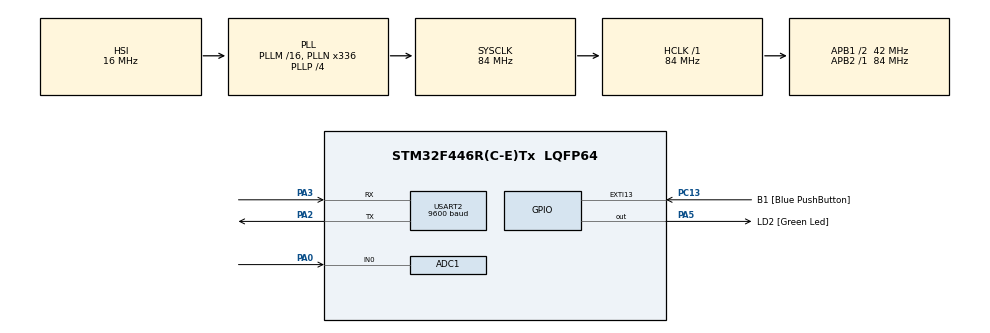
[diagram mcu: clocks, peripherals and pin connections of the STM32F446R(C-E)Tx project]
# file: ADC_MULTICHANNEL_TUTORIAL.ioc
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ADC1.Channel-0\#ChannelRegularConversion=ADC_CHANNEL_0
ADC1.Channel-1\#ChannelRegularConversion=ADC_CHANNEL_TEMPSENSOR
ADC1.ContinuousConvMode=ENABLE
ADC1.DMAContinuousRequests=ENABLE
ADC1.NbrOfConversion=2
ADC1.NbrOfConversionFlag=1
ADC1.Rank-0\#ChannelRegularConversion=1
ADC1.Rank-1\#ChannelRegularConversion=2
ADC1.SamplingTime-0\#ChannelRegularConversion=ADC_SAMPLETIME_3CYCLES
ADC1.SamplingTime-1\#ChannelRegularConversion=ADC_SAMPLETIME_3CYCLES
ADC1.master=1
Dma.ADC1.0.Direction=DMA_PERIPH_TO_MEMORY
Dma.ADC1.0.FIFOMode=DMA_FIFOMODE_DISABLE
Dma.ADC1.0.Instance=DMA2_Stream0
Dma.ADC1.0.MemDataAlignment=DMA_MDATAALIGN_HALFWORD
Dma.ADC1.0.MemInc=DMA_MINC_ENABLE
Dma.ADC1.0.Mode=DMA_NORMAL
Dma.ADC1.0.PeriphDataAlignment=DMA_PDATAALIGN_HALFWORD
Dma.ADC1.0.PeriphInc=DMA_PINC_DISABLE
Dma.ADC1.0.Priority=DMA_PRIORITY_LOW
Dma.Request0=ADC1
Mcu.Family=STM32F4
Mcu.Name=STM32F446R(C-E)Tx
Mcu.Package=LQFP64
NVIC.ADC_IRQn=true\:0\:0\:false\:false\:true\:true\:true
NVIC.DMA2_Stream0_IRQn=true\:0\:0\:false\:false\:true\:false\:true
NVIC.PriorityGroup=NVIC_PRIORITYGROUP_0
PA0-WKUP.Signal=ADCx_IN0
PA13.GPIO_Label=TMS
PA13.Mode=Serial_Wire
PA13.Signal=SYS_JTMS-SWDIO
PA14.GPIO_Label=TCK
PA14.Mode=Serial_Wire
PA14.Signal=SYS_JTCK-SWCLK
PA2.Mode=Asynchronous
PA2.Signal=USART2_TX
PA3.Mode=Asynchronous
PA3.Signal=USART2_RX
PA5.GPIO_Label=LD2 [Green Led]
PA5.Signal=GPIO_Output
PB3.GPIO_Label=SWO
PB3.Signal=SYS_JTDO-SWO
PC13.GPIO_Label=B1 [Blue PushButton]
PC13.GPIO_ModeDefaultEXTI=GPIO_MODE_IT_FALLING
PC13.Signal=GPXTI13
PC14-OSC32_IN.Mode=LSE-External-Oscillator
PC14-OSC32_IN.Signal=RCC_OSC32_IN
PC15-OSC32_OUT.Mode=LSE-External-Oscillator
PC15-OSC32_OUT.Signal=RCC_OSC32_OUT
PH0-OSC_IN.Mode=HSE-External-Oscillator
PH0-OSC_IN.Signal=RCC_OSC_IN
PH1-OSC_OUT.Mode=HSE-External-Oscillator
PH1-OSC_OUT.Signal=RCC_OSC_OUT
ProjectManager.HeapSize=0x200
ProjectManager.StackSize=0x400
ProjectManager.TargetToolchain=MDK-ARM V5.27
RCC.48MHZClocksFreq_Value=84000000
RCC.AHBFreq_Value=84000000
RCC.APB1CLKDivider=RCC_HCLK_DIV2
RCC.APB1Freq_Value=42000000
RCC.APB1TimFreq_Value=84000000
RCC.APB2Freq_Value=84000000
RCC.APB2TimFreq_Value=84000000
RCC.CortexFreq_Value=84000000
RCC.FLatency-AdvancedSettings=FLASH_LATENCY_2
RCC.HCLKFreq_Value=84000000
RCC.HSE_VALUE=8000000
RCC.HSI_VALUE=16000000
RCC.PLLN=336
RCC.PLLP=RCC_PLLP_DIV4
RCC.SYSCLKFreq_VALUE=84000000
RCC.SYSCLKSource=RCC_SYSCLKSOURCE_PLLCLK
RCC.USBFreq_Value=168000000
RCC.VCOOutputFreq_Value=336000000
SH.ADCx_IN0.0=ADC1_IN0,IN0
USART2.BaudRate=9600
USART2.VirtualMode=VM_ASYNC
VP_ADC1_TempSens_Input.Mode=IN-TempSens
board=NUCLEO-F446RE

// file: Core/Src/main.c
/* USER CODE BEGIN Header */
/**
  ******************************************************************************
  * @file           : main.c
  * @brief          : Main program body
  ******************************************************************************
  * @attention
  *
  * <h2><center>&copy; Copyright (c) 2021 STMicroelectronics.
  * All rights reserved.</center></h2>
  *
  * This software component is licensed by ST under BSD 3-Clause license,
  * the "License"; You may not use this file except in compliance with the
  * License. You may obtain a copy of the License at:
  *                        opensource.org/licenses/BSD-3-Clause
  *
  ******************************************************************************
  */
/* USER CODE END Header */
#include "main.h"

/* USER CODE BEGIN Includes */
#include <stdio.h>
#include <stdlib.h>
#include <string.h>

/* USER CODE END Includes */

ADC_HandleTypeDef hadc1;
DMA_HandleTypeDef hdma_adc1;

UART_HandleTypeDef huart2;

/* USER CODE BEGIN PV */
uint16_t adc_buffer[2];
double pot_adc=0.0;
double temp=0.0;
char hold[ ]=" ";
/* USER CODE END PV */

void SystemClock_Config(void);
static void MX_GPIO_Init(void);
static void MX_DMA_Init(void);
static void MX_ADC1_Init(void);
static void MX_USART2_UART_Init(void);

int main(void)
{

  /* MCU Configuration--------------------------------------------------------*/

  /* Reset of all peripherals, Initializes the Flash interface and the Systick. */
  HAL_Init();

  /* Configure the system clock */
  SystemClock_Config();

  /* Initialize all configured peripherals */
  MX_GPIO_Init();
  MX_DMA_Init();
  MX_ADC1_Init();
  MX_USART2_UART_Init();

  /* Infinite loop */
  while (1)
  {

    /* USER CODE BEGIN 3 */
		HAL_ADC_Start_DMA(&hadc1,(uint32_t*)adc_buffer,2);
		HAL_Delay(1000);
  }
  /* USER CODE END 3 */
}

void SystemClock_Config(void)
{
  RCC_OscInitTypeDef RCC_OscInitStruct = {0};
  RCC_ClkInitTypeDef RCC_ClkInitStruct = {0};

  /** Configure the main internal regulator output voltage
  */
  __HAL_RCC_PWR_CLK_ENABLE();
  __HAL_PWR_VOLTAGESCALING_CONFIG(PWR_REGULATOR_VOLTAGE_SCALE3);
  /** Initializes the RCC Oscillators according to the specified parameters
  * in the RCC_OscInitTypeDef structure.
  */
  RCC_OscInitStruct.OscillatorType = RCC_OSCILLATORTYPE_HSI;
  RCC_OscInitStruct.HSIState = RCC_HSI_ON;
  RCC_OscInitStruct.HSICalibrationValue = RCC_HSICALIBRATION_DEFAULT;
  RCC_OscInitStruct.PLL.PLLState = RCC_PLL_ON;
  RCC_OscInitStruct.PLL.PLLSource = RCC_PLLSOURCE_HSI;
  RCC_OscInitStruct.PLL.PLLM = 16;
  RCC_OscInitStruct.PLL.PLLN = 336;
  RCC_OscInitStruct.PLL.PLLP = RCC_PLLP_DIV4;
  RCC_OscInitStruct.PLL.PLLQ = 2;
  RCC_OscInitStruct.PLL.PLLR = 2;
  if (HAL_RCC_OscConfig(&RCC_OscInitStruct) != HAL_OK)
  {
    Error_Handler();
  }
  /** Initializes the CPU, AHB and APB buses clocks
  */
  RCC_ClkInitStruct.ClockType = RCC_CLOCKTYPE_HCLK|RCC_CLOCKTYPE_SYSCLK
                              |RCC_CLOCKTYPE_PCLK1|RCC_CLOCKTYPE_PCLK2;
  RCC_ClkInitStruct.SYSCLKSource = RCC_SYSCLKSOURCE_PLLCLK;
  RCC_ClkInitStruct.AHBCLKDivider = RCC_SYSCLK_DIV1;
  RCC_ClkInitStruct.APB1CLKDivider = RCC_HCLK_DIV2;
  RCC_ClkInitStruct.APB2CLKDivider = RCC_HCLK_DIV1;

  if (HAL_RCC_ClockConfig(&RCC_ClkInitStruct, FLASH_LATENCY_2) != HAL_OK)
  {
    Error_Handler();
  }
}

static void MX_ADC1_Init(void)
{

  ADC_ChannelConfTypeDef sConfig = {0};

  /** Configure the global features of the ADC (Clock, Resolution, Data Alignment and number of conversion)
  */
  hadc1.Instance = ADC1;
  hadc1.Init.ClockPrescaler = ADC_CLOCK_SYNC_PCLK_DIV4;
  hadc1.Init.Resolution = ADC_RESOLUTION_12B;
  hadc1.Init.ScanConvMode = ENABLE;
  hadc1.Init.ContinuousConvMode = ENABLE;
  hadc1.Init.DiscontinuousConvMode = DISABLE;
  hadc1.Init.ExternalTrigConvEdge = ADC_EXTERNALTRIGCONVEDGE_NONE;
  hadc1.Init.ExternalTrigConv = ADC_SOFTWARE_START;
  hadc1.Init.DataAlign = ADC_DATAALIGN_RIGHT;
  hadc1.Init.NbrOfConversion = 2;
  hadc1.Init.DMAContinuousRequests = ENABLE;
  hadc1.Init.EOCSelection = ADC_EOC_SINGLE_CONV;
  if (HAL_ADC_Init(&hadc1) != HAL_OK)
  {
    Error_Handler();
  }
  /** Configure for the selected ADC regular channel its corresponding rank in the sequencer and its sample time.
  */
  sConfig.Channel = ADC_CHANNEL_0;
  sConfig.Rank = 1;
  sConfig.SamplingTime = ADC_SAMPLETIME_3CYCLES;
  if (HAL_ADC_ConfigChannel(&hadc1, &sConfig) != HAL_OK)
  {
    Error_Handler();
  }
  /** Configure for the selected ADC regular channel its corresponding rank in the sequencer and its sample time.
  */
  sConfig.Channel = ADC_CHANNEL_TEMPSENSOR;
  sConfig.Rank = 2;
  sConfig.SamplingTime = ADC_SAMPLETIME_28CYCLES;
  if (HAL_ADC_ConfigChannel(&hadc1, &sConfig) != HAL_OK)
  {
    Error_Handler();
  }

}

static void MX_USART2_UART_Init(void)
{

  huart2.Instance = USART2;
  huart2.Init.BaudRate = 9600;
  huart2.Init.WordLength = UART_WORDLENGTH_8B;
  huart2.Init.StopBits = UART_STOPBITS_1;
  huart2.Init.Parity = UART_PARITY_NONE;
  huart2.Init.Mode = UART_MODE_TX_RX;
  huart2.Init.HwFlowCtl = UART_HWCONTROL_NONE;
  huart2.Init.OverSampling = UART_OVERSAMPLING_16;
  if (HAL_UART_Init(&huart2) != HAL_OK)
  {
    Error_Handler();
  }

}

static void MX_DMA_Init(void)
{

  /* DMA controller clock enable */
  __HAL_RCC_DMA2_CLK_ENABLE();

  /* DMA interrupt init */
  /* DMA2_Stream0_IRQn interrupt configuration */
  HAL_NVIC_SetPriority(DMA2_Stream0_IRQn, 0, 0);
  HAL_NVIC_EnableIRQ(DMA2_Stream0_IRQn);

}

static void MX_GPIO_Init(void)
{
  GPIO_InitTypeDef GPIO_InitStruct = {0};

  /* GPIO Ports Clock Enable */
  __HAL_RCC_GPIOC_CLK_ENABLE();
  __HAL_RCC_GPIOH_CLK_ENABLE();
  __HAL_RCC_GPIOA_CLK_ENABLE();
  __HAL_RCC_GPIOB_CLK_ENABLE();

  /*Configure GPIO pin Output Level */
  HAL_GPIO_WritePin(LD2_GPIO_Port, LD2_Pin, GPIO_PIN_RESET);

  /*Configure GPIO pin : B1_Pin */
  GPIO_InitStruct.Pin = B1_Pin;
  GPIO_InitStruct.Mode = GPIO_MODE_IT_FALLING;
  GPIO_InitStruct.Pull = GPIO_NOPULL;
  HAL_GPIO_Init(B1_GPIO_Port, &GPIO_InitStruct);

  /*Configure GPIO pin : LD2_Pin */
  GPIO_InitStruct.Pin = LD2_Pin;
  GPIO_InitStruct.Mode = GPIO_MODE_OUTPUT_PP;
  GPIO_InitStruct.Pull = GPIO_NOPULL;
  GPIO_InitStruct.Speed = GPIO_SPEED_FREQ_LOW;
  HAL_GPIO_Init(LD2_GPIO_Port, &GPIO_InitStruct);

}

/* USER CODE BEGIN 4 */
void HAL_ADC_ConvCpltCallback(ADC_HandleTypeDef* hadc)
{
pot_adc=(double)adc_buffer[0]*3.3/4095;
temp=((double)adc_buffer[1]/4095)*3300;
temp=((temp-760)/2.5)+25;
sprintf(hold,"adc=%f\n",pot_adc);
HAL_UART_Transmit(&huart2,(uint8_t*)hold,strlen(hold),HAL_MAX_DELAY);
sprintf(hold,"temp=%f\n",temp);
HAL_UART_Transmit(&huart2,(uint8_t*)hold,strlen(hold),HAL_MAX_DELAY);

}
/* USER CODE END 4 */

void Error_Handler(void)
{
  __disable_irq();
  while (1)
  {
  }
}

/************************ (C) COPYRIGHT STMicroelectronics *****END OF FILE****/
